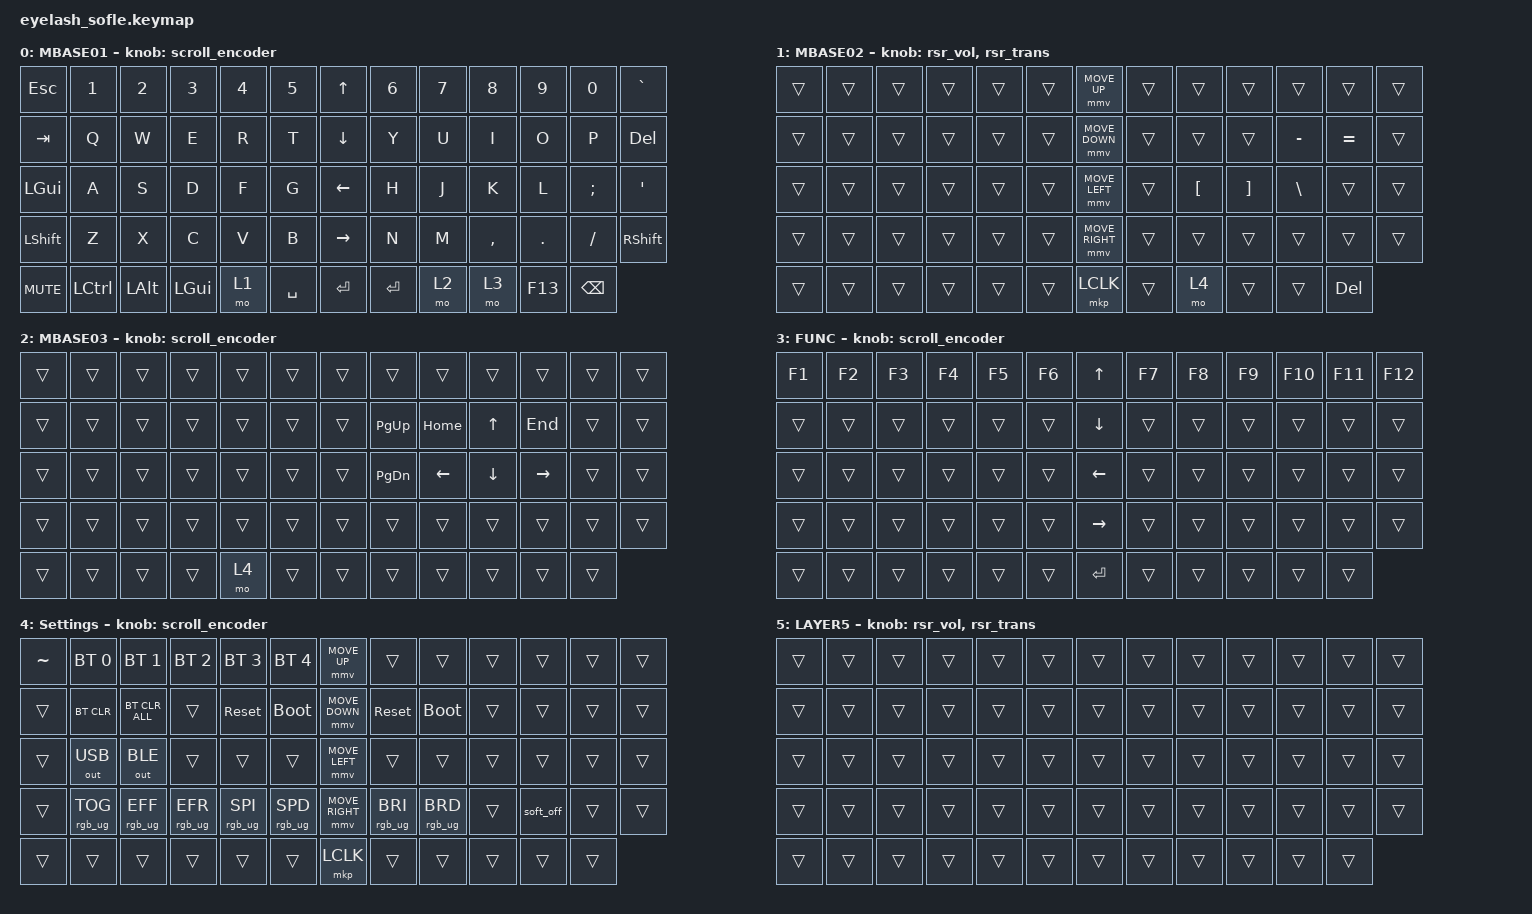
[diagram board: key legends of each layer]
#define ZMK_POINTING_DEFAULT_MOVE_VAL 1200  // 600
#define ZMK_POINTING_DEFAULT_SCRL_VAL 25   // 10

#include <input/processors.dtsi>
#include <zephyr/dt-bindings/input/input-event-codes.h>
#include <behaviors.dtsi>
#include <behaviors/runtime-sensor-rotate.dtsi>
#include <dt-bindings/zmk/bt.h>
#include <dt-bindings/zmk/keys.h>
#include <dt-bindings/zmk/outputs.h>
#include <dt-bindings/zmk/pointing.h>
#include <dt-bindings/zmk/rgb.h>

&mmv_input_listener { input-processors = <&zip_xy_scaler 2 1>; };

&msc_input_listener { input-processors = <&zip_scroll_scaler 2 1>; };

&msc {
    acceleration-exponent = <1>;      // 0
    time-to-max-speed-ms = <100>;       // 300
    delay-ms = <0>;                   // 0
};

&mmv {
    time-to-max-speed-ms = <500>;
    acceleration-exponent = <1>;
    trigger-period-ms = <16>;
};

&soft_off { hold-time-ms = <2000>; };

/ {
    scroll_encoder: scroll_encoder {
        compatible = "zmk,behavior-sensor-rotate";
        #sensor-binding-cells = <0>;
        bindings = <&msc SCRL_DOWN>, <&msc SCRL_UP>;

        tap-ms = <100>;
    };

    behaviors {
        rsr_vol: rsr_vol {
            compatible = "zmk,behavior-runtime-sensor-rotate";
            #sensor-binding-cells = <0>;
            tap-ms = <5>;
            cw-binding = <&kp C_VOL_UP>;
            ccw-binding = <&kp C_VOL_DN>;
        };

        rsr_trans: rsr_trans {
            compatible = "zmk,behavior-runtime-sensor-rotate";
            #sensor-binding-cells = <0>;
            tap-ms = <0>;
        };
    };

    combos {
        compatible = "zmk,combos";

        softoff {
            bindings = <&soft_off>;
            key-positions = <14 28 40>;
        };
    };

    macros {
        SHIFT_MCLK: SHIFT_MCLK {
            compatible = "zmk,behavior-macro";
            #binding-cells = <0>;
            bindings =
                <&macro_press>,
                <&kp LEFT_SHIFT>,
                <&macro_press>,
                <&mkp MB3>,
                <&macro_pause_for_release>,
                <&macro_release>,
                <&kp LEFT_SHIFT &mkp MB3>;

            label = "SHIFT_MCLK";
        };
    };

    keymap {
        compatible = "zmk,keymap";

        mac01 {
            bindings = <
&kp ESC       &kp N1     &kp N2        &kp N3        &kp N4  &kp N5       &kp UP_ARROW     &kp N6     &kp N7  &kp N8     &kp N9   &kp N0         &kp GRAVE
&kp TAB       &kp Q      &kp W         &kp E         &kp R   &kp T        &kp DOWN_ARROW   &kp Y      &kp U   &kp I      &kp O    &kp P          &kp DELETE
&kp LEFT_GUI  &kp A      &kp S         &kp D         &kp F   &kp G        &kp LEFT_ARROW   &kp H      &kp J   &kp K      &kp L    &kp SEMI       &kp APOS
&kp LSHFT     &kp Z      &kp X         &kp C         &kp V   &kp B        &kp RIGHT_ARROW  &kp N      &kp M   &kp COMMA  &kp DOT  &kp FSLH       &kp RIGHT_SHIFT
&kp C_MUTE    &kp LCTRL  &kp LEFT_ALT  &kp LEFT_GUI  &mo 1   &kp SPACE    &kp ENTER        &kp ENTER  &mo 2   &mo 3      &kp F13  &kp BACKSPACE
            >;

            sensor-bindings = <&scroll_encoder>;
            display-name = "MBASE01";
        };

        mac02 {
            bindings = <
&trans  &trans  &trans  &trans  &trans  &trans    &mmv MOVE_UP     &trans  &trans    &trans    &trans     &trans     &trans
&trans  &trans  &trans  &trans  &trans  &trans    &mmv MOVE_DOWN   &trans  &trans    &trans    &kp MINUS  &kp EQUAL  &trans
&trans  &trans  &trans  &trans  &trans  &trans    &mmv MOVE_LEFT   &trans  &kp LBKT  &kp RBKT  &kp BSLH   &trans     &trans
&trans  &trans  &trans  &trans  &trans  &trans    &mmv MOVE_RIGHT  &trans  &trans    &trans    &trans     &trans     &trans
&trans  &trans  &trans  &trans  &trans  &trans    &mkp LCLK        &trans  &mo 4     &trans    &trans     &kp DEL
            >;

            display-name = "MBASE02";
            sensor-bindings = <&rsr_vol &rsr_trans>;
        };

        mac03 {
            bindings = <
&trans  &trans  &trans  &trans  &trans  &trans    &trans  &trans     &trans    &trans    &trans     &trans  &trans
&trans  &trans  &trans  &trans  &trans  &trans    &trans  &kp PG_UP  &kp HOME  &kp UP    &kp END    &trans  &trans
&trans  &trans  &trans  &trans  &trans  &trans    &trans  &kp PG_DN  &kp LEFT  &kp DOWN  &kp RIGHT  &trans  &trans
&trans  &trans  &trans  &trans  &trans  &trans    &trans  &trans     &trans    &trans    &trans     &trans  &trans
&trans  &trans  &trans  &trans  &mo 4   &trans    &trans  &trans     &trans    &trans    &trans     &trans
            >;

            display-name = "MBASE03";
            sensor-bindings = <&scroll_encoder>;
        };

        function {
            bindings = <
&kp F1  &kp F2  &kp F3  &kp F4  &kp F5  &kp F6    &kp UP_ARROW  &kp F7  &kp F8  &kp F9  &kp F10  &kp F11  &kp F12
&trans  &trans  &trans  &trans  &trans  &trans    &kp DOWN      &trans  &trans  &trans  &trans   &trans   &trans
&trans  &trans  &trans  &trans  &trans  &trans    &kp LEFT      &trans  &trans  &trans  &trans   &trans   &trans
&trans  &trans  &trans  &trans  &trans  &trans    &kp RIGHT     &trans  &trans  &trans  &trans   &trans   &trans
&trans  &trans  &trans  &trans  &trans  &trans    &kp ENTER     &trans  &trans  &trans  &trans   &trans
            >;

            display-name = "FUNC";
            sensor-bindings = <&scroll_encoder>;
        };

        Settings {
            bindings = <
&kp TILDE  &bt BT_SEL 0     &bt BT_SEL 1     &bt BT_SEL 2     &bt BT_SEL 3     &bt BT_SEL 4       &mmv MOVE_UP     &trans           &trans           &trans  &trans     &trans  &trans
&trans     &bt BT_CLR       &bt BT_CLR_ALL   &trans           &sys_reset       &bootloader        &mmv MOVE_DOWN   &sys_reset       &bootloader      &trans  &trans     &trans  &trans
&trans     &out OUT_USB     &out OUT_BLE     &trans           &trans           &trans             &mmv MOVE_LEFT   &trans           &trans           &trans  &trans     &trans  &trans
&trans     &rgb_ug RGB_TOG  &rgb_ug RGB_EFF  &rgb_ug RGB_EFR  &rgb_ug RGB_SPI  &rgb_ug RGB_SPD    &mmv MOVE_RIGHT  &rgb_ug RGB_BRI  &rgb_ug RGB_BRD  &trans  &soft_off  &trans  &trans
&trans     &trans           &trans           &trans           &trans           &trans             &mkp LCLK        &trans           &trans           &trans  &trans     &trans
            >;

            display-name = "Settings";
            sensor-bindings = <&scroll_encoder>;
        };

        layer_5 {
            bindings = <
&trans  &trans  &trans  &trans  &trans  &trans    &trans  &trans  &trans  &trans  &trans  &trans  &trans
&trans  &trans  &trans  &trans  &trans  &trans    &trans  &trans  &trans  &trans  &trans  &trans  &trans
&trans  &trans  &trans  &trans  &trans  &trans    &trans  &trans  &trans  &trans  &trans  &trans  &trans
&trans  &trans  &trans  &trans  &trans  &trans    &trans  &trans  &trans  &trans  &trans  &trans  &trans
&trans  &trans  &trans  &trans  &trans  &trans    &trans  &trans  &trans  &trans  &trans  &trans
            >;

            display-name = "LAYER5";
            sensor-bindings = <&rsr_vol &rsr_trans>;
        };
    };
};
